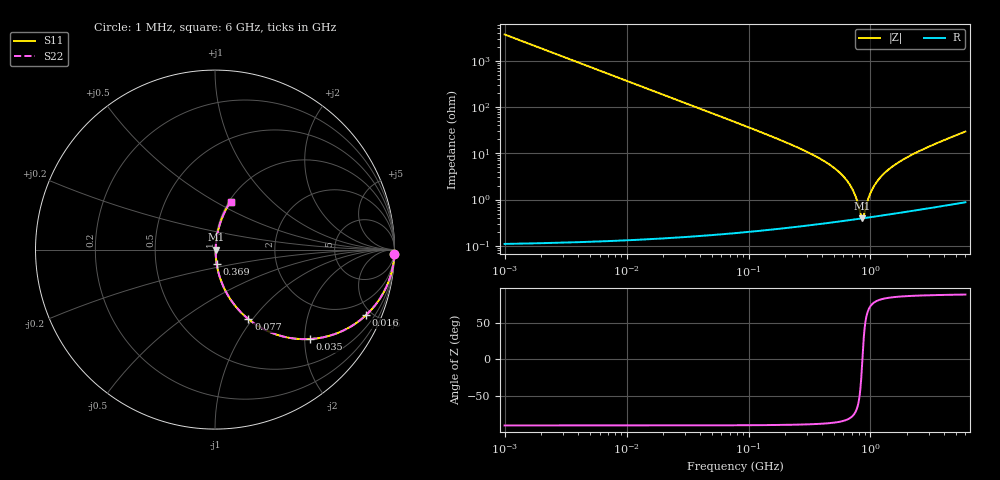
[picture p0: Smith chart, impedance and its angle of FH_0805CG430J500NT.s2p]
! FH 0805CG430J500NT 43 pF 0805 C0G (option: retuned C8)
! FH publishes no RF data: typical 0805 C0G model, ESL=0.8 nH, ESR=0.10+0.10*sqrt(f/100MHz) ohm
! Generated by make_s2p.py - an estimate, not a measurement
! Series-thru 2-port: part connected between port 1 and port 2.
# Hz S RI R 50
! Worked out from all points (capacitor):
!   1500 points, 1 MHz to 6 GHz, reference 50 ohm
!   read as one part in series: C = 43 pF near 8 MHz
!   lowest |Z| = 393 mohm at 857 MHz (marker M1)
!   series resonance near 858.1 MHz, so ESL is about 800 pH
!   S11 on the Smith chart (normalised r, x): 1 MHz: 1, -74; 16 MHz: 1.00, -4.62; 35 MHz: 1.00, -2.11; 77 MHz: 1.00, -0.95; 369 MHz: 1.01, -0.16; 6 GHz: 1.02, +0.59
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1000000  0.9993 -0.027  0.00073 0.027  0.00073 0.027  0.9993 -0.027
3000000  0.9935 -0.0805  0.00653 0.0805  0.00653 0.0805  0.9935 -0.0805
5000000  0.9821 -0.1327  0.0179 0.1327  0.0179 0.1327  0.9821 -0.1327
1.6e7  0.8423 -0.3641  0.1577 0.3641  0.1577 0.3641  0.8423 -0.3641
1.9e7  0.7911 -0.4061  0.2089 0.4061  0.2089 0.4061  0.7911 -0.4061
3.5e7  0.5271 -0.4985  0.4729 0.4985  0.4729 0.4985  0.5271 -0.4985
7.7e7  0.1862 -0.3873  0.8138 0.3873  0.8138 0.3873  0.1862 -0.3873
7.8e7  0.1823 -0.3841  0.8177 0.3841  0.8177 0.3841  0.1823 -0.3841
1.42e8  0.0622 -0.2372  0.9378 0.2372  0.9378 0.2372  0.0622 -0.2372
3.31e8  0.0117 -0.0938  0.9883 0.0938  0.9883 0.0938  0.0117 -0.0938
3.69e8  0.00949 -0.0807  0.9905 0.0807  0.9905 0.0807  0.00949 -0.0807
5.16e8  0.00533 -0.0454  0.9947 0.0454  0.9947 0.0454  0.00533 -0.0454
6.49e8  0.00412 -0.0242  0.9959 0.0242  0.9959 0.0242  0.00412 -0.0242
7.47e8  0.00386 -0.0119  0.9961 0.0119  0.9961 0.0119  0.00386 -0.0119
8.39e8  0.00389 -0.00193  0.9961 0.00193  0.9961 0.00193  0.00389 -0.00193
8.57e8  0.00391 -0.00011  0.9961 0.00011  0.9961 0.00011  0.00391 -0.00011
8.78e8  0.00395 0.00196  0.996 -0.00196  0.996 -0.00196  0.00395 0.00196
1e9  0.00432 0.0131  0.9957 -0.0131  0.9957 -0.0131  0.00432 0.0131
1.19e9  0.00524 0.0284  0.9948 -0.0284  0.9948 -0.0284  0.00524 0.0284
1.41e9  0.00669 0.0441  0.9933 -0.0441  0.9933 -0.0441  0.00669 0.0441
2.41e9  0.0167 0.1034  0.9833 -0.1034  0.9833 -0.1034  0.0167 0.1034
6e9  0.087 0.2674  0.913 -0.2674  0.913 -0.2674  0.087 0.2674
